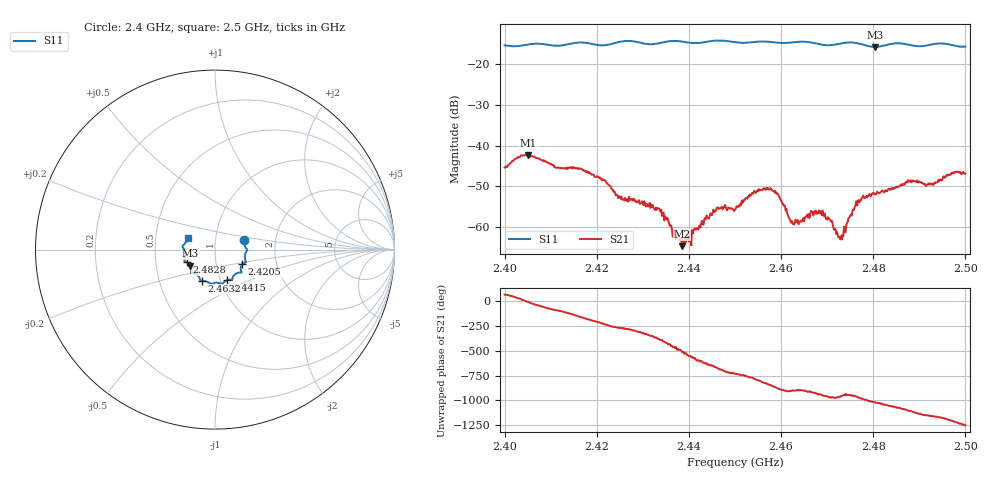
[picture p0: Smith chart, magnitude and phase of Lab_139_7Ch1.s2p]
# Hz S RI R 50
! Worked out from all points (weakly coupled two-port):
!   601 points, 2.4 GHz to 2.5 GHz, reference 50 ohm
!   highest |S21| = -42.31 dB at 2.4052 GHz (marker M1); lowest = -64.8 dB at 2.4385 GHz (marker M2)
!   lowest |S11| = -15.7 dB at 2.4803 GHz (marker M3), VSWR 1.39, Z = 37.4 - j6.85 ohm
!   |S11| at or under -10 dB: start of sweep to end of sweep
!   S12 and S22 are empty: the file has one direction only
!   S11 on the Smith chart (normalised r, x): 2.4 GHz: 1.38, +0.15; 2.4205 GHz: 1.34, -0.23; 2.4415 GHz: 1.07, -0.38; 2.4632 GHz: 0.82, -0.29; 2.4828 GHz: 0.72, -0.10; 2.5 GHz: 0.73, +0.10
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2.4e9  0.1637 0.0518  0.00215 0.00491  0 0  0 0
2.405167e9  0.1763 0.00331  0.00754 -0.00136  0 0  0 0
2.416667e9  0.1729 -0.07  -0.00494 -0.00154  0 0  0 0
2.4205e9  0.1521 -0.0818  -0.00328 0.00229  0 0  0 0
2.4255e9  0.147 -0.1242  0.000106 0.00215  0 0  0 0
2.433333e9  0.1001 -0.1516  0.00162 -0.000451  0 0  0 0
2.4385e9  0.0915 -0.1681  -0.000496 -0.000288  0 0  0 0
2.4415e9  0.0659 -0.1708  -0.000613 0.000676  0 0  0 0
2.445833e9  0.0412 -0.1925  0.000918 0.00125  0 0  0 0
2.45e9  0.0241 -0.1861  0.00159 -0.000237  0 0  0 0
2.457333e9  -0.0276 -0.1882  -0.00137 -0.00254  0 0  0 0
2.459167e9  -0.04 -0.1811  -0.0023 -0.00103  0 0  0 0
2.462167e9  -0.0662 -0.174  -0.00112 6.22e-05  0 0  0 0
2.463167e9  -0.0732 -0.1739  -0.00122 2.09e-05  0 0  0 0
2.466667e9  -0.0822 -0.167  -0.00146 0.000432  0 0  0 0
2.469e9  -0.091 -0.1492  -0.00104 0.00118  0 0  0 0
2.473e9  -0.1264 -0.13  -0.000378 0.000662  0 0  0 0
2.4765e9  -0.1328 -0.1256  -0.000859 0.00159  0 0  0 0
2.480333e9  -0.1377 -0.0891  0.00123 0.00215  0 0  0 0
2.482833e9  -0.1587 -0.0702  0.00233 0.00148  0 0  0 0
2.483333e9  -0.1626 -0.0682  0.00261 0.00132  0 0  0 0
2.5e9  -0.1526 0.0643  -0.00446 -0.000689  0 0  0 0
